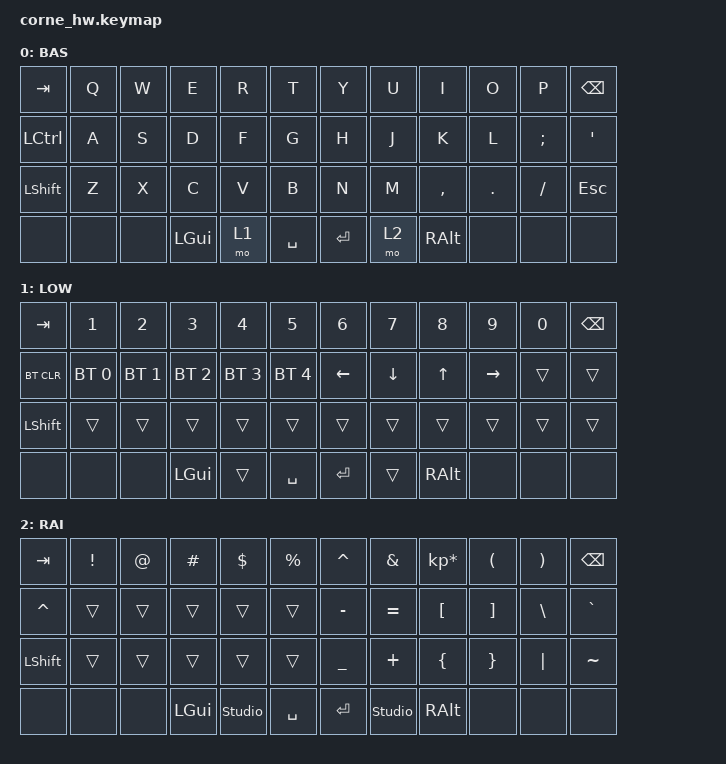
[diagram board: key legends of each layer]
#include <behaviors.dtsi>
#include <dt-bindings/zmk/keys.h>
#include <dt-bindings/zmk/bt.h>

/ {
    keymap {
        compatible = "zmk,keymap";

        default_layer {
            display-name = "BAS";
            bindings = <
&kp TAB    &kp Q &kp W &kp E &kp R &kp T        &kp Y     &kp U  &kp I     &kp O    &kp P     &kp BSPC
&kp LCTRL  &kp A &kp S &kp D &kp F &kp G        &kp H     &kp J  &kp K     &kp L    &kp SEMI  &kp SQT
&kp LSHFT  &kp Z &kp X &kp C &kp V &kp B        &kp N     &kp M  &kp COMMA &kp DOT  &kp FSLH  &kp ESC
&none &none &none    &kp LGUI &mo 1 &kp SPACE   &kp RET &mo 2 &kp RALT    &none &none &none
            >;
        };

        lower_layer {
            display-name = "LOW";
            bindings = <
&kp TAB   &kp N1     &kp N2       &kp N3       &kp N4       &kp N5          &kp N6    &kp N7    &kp N8   &kp N9    &kp N0  &kp BSPC
&bt BT_CLR &bt BT_SEL 0 &bt BT_SEL 1 &bt BT_SEL 2 &bt BT_SEL 3 &bt BT_SEL 4  &kp LEFT  &kp DOWN  &kp UP   &kp RIGHT &trans  &trans
&kp LSHFT &trans     &trans       &trans       &trans       &trans          &trans    &trans    &trans   &trans    &trans  &trans
&none &none &none    &kp LGUI &trans &kp SPACE              &kp RET &trans &kp RALT  &none &none &none
            >;
        };

        raise_layer {
            display-name = "RAI";
            bindings = <
&kp TAB   &kp EXCL &kp AT   &kp HASH &kp DLLR &kp PRCNT      &kp CARET &kp AMPS &kp KP_MULTIPLY &kp LPAR  &kp RPAR  &kp BSPC
&kp CARET &trans   &trans   &trans   &trans   &trans         &kp MINUS &kp EQUAL &kp LBKT       &kp RBKT  &kp BSLH  &kp GRAVE
&kp LSHFT &trans   &trans   &trans   &trans   &trans         &kp UNDER &kp PLUS  &kp LBRC       &kp RBRC  &kp PIPE  &kp TILDE
&none &none &none    &kp LGUI &studio_unlock &kp SPACE       &kp RET &studio_unlock &kp RALT    &none &none &none
            >;
        };
    };
};
